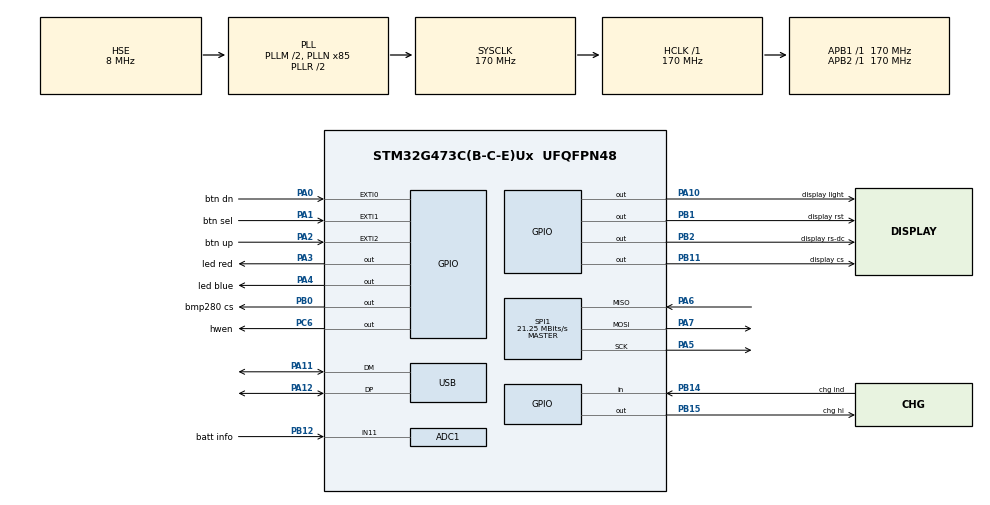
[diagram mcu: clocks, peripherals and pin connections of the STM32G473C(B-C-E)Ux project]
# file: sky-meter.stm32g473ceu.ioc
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ADC1.Channel-0\#ChannelRegularConversion=ADC_CHANNEL_11
ADC1.NbrOfConversionFlag=1
ADC1.OffsetNumber-0\#ChannelRegularConversion=ADC_OFFSET_NONE
ADC1.Rank-0\#ChannelRegularConversion=1
ADC1.SamplingTime-0\#ChannelRegularConversion=ADC_SAMPLETIME_2CYCLES_5
ADC1.master=1
Mcu.Family=STM32G4
Mcu.Name=STM32G473C(B-C-E)Ux
Mcu.Package=UFQFPN48
NVIC.EXTI0_IRQn=true\:0\:0\:false\:false\:true\:true\:true\:true
NVIC.EXTI1_IRQn=true\:0\:0\:false\:false\:true\:true\:true\:true
NVIC.EXTI2_IRQn=true\:0\:0\:false\:false\:true\:true\:true\:true
NVIC.PriorityGroup=NVIC_PRIORITYGROUP_4
NVIC.RTC_WKUP_IRQn=true\:0\:0\:false\:false\:true\:true\:true\:true
NVIC.USB_LP_IRQn=true\:0\:0\:false\:false\:true\:false\:true\:true
PA0.GPIO_Label=btn dn
PA0.GPIO_ModeDefaultEXTI=GPIO_MODE_IT_RISING_FALLING
PA0.GPIO_PuPd=GPIO_PULLUP
PA0.Signal=GPXTI0
PA1.GPIO_Label=btn sel
PA1.GPIO_ModeDefaultEXTI=GPIO_MODE_IT_RISING_FALLING
PA1.GPIO_PuPd=GPIO_PULLUP
PA1.Signal=GPXTI1
PA10.GPIO_Label=display light
PA10.Signal=GPIO_Output
PA11.Mode=Device
PA11.Signal=USB_DM
PA12.Mode=Device
PA12.Signal=USB_DP
PA2.GPIO_Label=btn up
PA2.GPIO_ModeDefaultEXTI=GPIO_MODE_IT_RISING_FALLING
PA2.GPIO_PuPd=GPIO_PULLUP
PA2.Signal=GPXTI2
PA3.GPIO_Label=led red
PA3.Signal=GPIO_Output
PA4.GPIO_Label=led blue
PA4.Signal=GPIO_Output
PA5.Mode=Full_Duplex_Master
PA5.Signal=SPI1_SCK
PA6.Mode=Full_Duplex_Master
PA6.Signal=SPI1_MISO
PA7.Mode=Full_Duplex_Master
PA7.Signal=SPI1_MOSI
PB0.GPIO_Label=bmp280 cs
PB0.PinState=GPIO_PIN_SET
PB0.Signal=GPIO_Output
PB1.GPIO_Label=display rst
PB1.Signal=GPIO_Output
PB11.GPIO_Label=display cs
PB11.PinState=GPIO_PIN_SET
PB11.Signal=GPIO_Output
PB12.GPIO_Label=batt info
PB12.Mode=IN11-Single-Ended
PB12.Signal=ADC1_IN11
PB14.GPIO_Label=chg ind
PB14.GPIO_PuPd=GPIO_PULLUP
PB14.Signal=GPIO_Input
PB15.GPIO_Label=chg hi
PB15.Signal=GPIO_Output
PB2.GPIO_Label=display rs-dc
PB2.Signal=GPIO_Output
PB4.Signal=UCPD1_CC2
PB6.Signal=UCPD1_CC1
PC14-OSC32_IN.Mode=LSE-External-Oscillator
PC14-OSC32_IN.Signal=RCC_OSC32_IN
PC15-OSC32_OUT.Mode=LSE-External-Oscillator
PC15-OSC32_OUT.Signal=RCC_OSC32_OUT
PC6.GPIO_Label=hwen
PC6.PinState=GPIO_PIN_SET
PC6.Signal=GPIO_Output
PF0-OSC_IN.Mode=HSE-External-Oscillator
PF0-OSC_IN.Signal=RCC_OSC_IN
PF1-OSC_OUT.Mode=HSE-External-Oscillator
PF1-OSC_OUT.Signal=RCC_OSC_OUT
ProjectManager.HeapSize=0x200
ProjectManager.StackSize=0x400
ProjectManager.TargetToolchain=Makefile
RCC.ADC12Freq_Value=170000000
RCC.ADC345Freq_Value=170000000
RCC.AHBFreq_Value=170000000
RCC.APB1Freq_Value=170000000
RCC.APB1TimFreq_Value=170000000
RCC.APB2Freq_Value=170000000
RCC.APB2TimFreq_Value=170000000
RCC.CK48CLockSelection=RCC_USBCLKSOURCE_HSI48
RCC.CortexFreq_Value=170000000
RCC.EXTERNAL_CLOCK_VALUE=12288000
RCC.HCLKFreq_Value=170000000
RCC.HSE_VALUE=8000000
RCC.HSI48_VALUE=48000000
RCC.HSI_VALUE=16000000
RCC.PLLM=RCC_PLLM_DIV2
RCC.PLLN=85
RCC.PLLSourceVirtual=RCC_PLLSOURCE_HSE
RCC.RTCClockSelection=RCC_RTCCLKSOURCE_LSE
RCC.SYSCLKFreq_VALUE=170000000
RCC.SYSCLKSource=RCC_SYSCLKSOURCE_PLLCLK
RCC.USBFreq_Value=48000000
RCC.VCOOutputFreq_Value=340000000
RTC.Format=RTC_FORMAT_BIN
SPI1.BaudRatePrescaler=SPI_BAUDRATEPRESCALER_8
SPI1.CalculateBaudRate=21.25 MBits/s
SPI1.DataSize=SPI_DATASIZE_8BIT
SPI1.Direction=SPI_DIRECTION_2LINES
SPI1.Mode=SPI_MODE_MASTER
SPI1.VirtualType=VM_MASTER
USB_DEVICE.CLASS_NAME_FS=CDC
USB_DEVICE.MANUFACTURER_STRING=sky
USB_DEVICE.PRODUCT_STRING_CDC_FS=sky-meter Virtual ComPort
USB_DEVICE.VirtualMode=Cdc
USB_DEVICE.VirtualModeFS=Cdc_FS
VP_RTC_VS_RTC_Activate.Mode=RTC_Enabled
VP_RTC_VS_RTC_Calendar.Mode=RTC_Calendar
VP_RTC_VS_RTC_WakeUp_intern.Mode=WakeUp
VP_SYS_VS_DBSignals.Mode=DisableDeadBatterySignals
VP_USB_DEVICE_VS_USB_DEVICE_CDC_FS.Mode=CDC_FS
board=custom

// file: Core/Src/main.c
/* USER CODE BEGIN Header */
/**
  ******************************************************************************
  * @file           : main.c
  * @brief          : Main program body
  ******************************************************************************
  * @attention
  *
  * Copyright (c) 2024 STMicroelectronics.
  * All rights reserved.
  *
  * This software is licensed under terms that can be found in the LICENSE file
  * in the root directory of this software component.
  * If no LICENSE file comes with this software, it is provided AS-IS.
  *
  ******************************************************************************
  */
/* USER CODE END Header */
#include "main.h"
#include "usb_device.h"

/* USER CODE BEGIN Includes */
#include "../../src/sys/init.h"
#include "../../src/sys/power.h"
#include "../../src/view/btn.h" // btn_byexti
/* USER CODE END Includes */

ADC_HandleTypeDef hadc1;

RTC_HandleTypeDef hrtc;

SPI_HandleTypeDef hspi1;

void SystemClock_Config(void);
static void MX_GPIO_Init(void);
static void MX_ADC1_Init(void);
static void MX_SPI1_Init(void);
static void MX_RTC_Init(void);

/* USER CODE BEGIN 0 */

void HAL_GPIO_EXTI_Callback(uint16_t GPIO_Pin)
{
    btn_byexti(GPIO_Pin);
}

/* USER CODE END 0 */

int main(void)
{

  /* MCU Configuration--------------------------------------------------------*/

  /* Reset of all peripherals, Initializes the Flash interface and the Systick. */
  HAL_Init();

  /* Configure the system clock */
  SystemClock_Config();

  /* Initialize all configured peripherals */
  MX_GPIO_Init();
  MX_ADC1_Init();
  MX_SPI1_Init();
  MX_RTC_Init();
  MX_USB_Device_Init();
  /* USER CODE BEGIN 2 */

    init_full();

  /* USER CODE END 2 */

  /* Infinite loop */
  while (1)
  {

    /* USER CODE BEGIN 3 */

    pwr_tick();

  }
  /* USER CODE END 3 */
}

void SystemClock_Config(void)
{
  RCC_OscInitTypeDef RCC_OscInitStruct = {0};
  RCC_ClkInitTypeDef RCC_ClkInitStruct = {0};

  /** Configure the main internal regulator output voltage
  */
  HAL_PWREx_ControlVoltageScaling(PWR_REGULATOR_VOLTAGE_SCALE1_BOOST);

  /** Configure LSE Drive Capability
  */
  HAL_PWR_EnableBkUpAccess();
  __HAL_RCC_LSEDRIVE_CONFIG(RCC_LSEDRIVE_LOW);

  /** Initializes the RCC Oscillators according to the specified parameters
  * in the RCC_OscInitTypeDef structure.
  */
  RCC_OscInitStruct.OscillatorType = RCC_OSCILLATORTYPE_HSI48|RCC_OSCILLATORTYPE_HSE
                              |RCC_OSCILLATORTYPE_LSE;
  RCC_OscInitStruct.HSEState = RCC_HSE_ON;
  RCC_OscInitStruct.LSEState = RCC_LSE_ON;
  RCC_OscInitStruct.HSI48State = RCC_HSI48_ON;
  RCC_OscInitStruct.PLL.PLLState = RCC_PLL_ON;
  RCC_OscInitStruct.PLL.PLLSource = RCC_PLLSOURCE_HSE;
  RCC_OscInitStruct.PLL.PLLM = RCC_PLLM_DIV2;
  RCC_OscInitStruct.PLL.PLLN = 85;
  RCC_OscInitStruct.PLL.PLLP = RCC_PLLP_DIV2;
  RCC_OscInitStruct.PLL.PLLQ = RCC_PLLQ_DIV2;
  RCC_OscInitStruct.PLL.PLLR = RCC_PLLR_DIV2;
  if (HAL_RCC_OscConfig(&RCC_OscInitStruct) != HAL_OK)
  {
    Error_Handler();
  }

  /** Initializes the CPU, AHB and APB buses clocks
  */
  RCC_ClkInitStruct.ClockType = RCC_CLOCKTYPE_HCLK|RCC_CLOCKTYPE_SYSCLK
                              |RCC_CLOCKTYPE_PCLK1|RCC_CLOCKTYPE_PCLK2;
  RCC_ClkInitStruct.SYSCLKSource = RCC_SYSCLKSOURCE_PLLCLK;
  RCC_ClkInitStruct.AHBCLKDivider = RCC_SYSCLK_DIV1;
  RCC_ClkInitStruct.APB1CLKDivider = RCC_HCLK_DIV1;
  RCC_ClkInitStruct.APB2CLKDivider = RCC_HCLK_DIV1;

  if (HAL_RCC_ClockConfig(&RCC_ClkInitStruct, FLASH_LATENCY_4) != HAL_OK)
  {
    Error_Handler();
  }
}

static void MX_ADC1_Init(void)
{

  ADC_MultiModeTypeDef multimode = {0};
  ADC_ChannelConfTypeDef sConfig = {0};

  /** Common config
  */
  hadc1.Instance = ADC1;
  hadc1.Init.ClockPrescaler = ADC_CLOCK_SYNC_PCLK_DIV4;
  hadc1.Init.Resolution = ADC_RESOLUTION_12B;
  hadc1.Init.DataAlign = ADC_DATAALIGN_RIGHT;
  hadc1.Init.GainCompensation = 0;
  hadc1.Init.ScanConvMode = ADC_SCAN_DISABLE;
  hadc1.Init.EOCSelection = ADC_EOC_SINGLE_CONV;
  hadc1.Init.LowPowerAutoWait = DISABLE;
  hadc1.Init.ContinuousConvMode = DISABLE;
  hadc1.Init.NbrOfConversion = 1;
  hadc1.Init.DiscontinuousConvMode = DISABLE;
  hadc1.Init.ExternalTrigConv = ADC_SOFTWARE_START;
  hadc1.Init.ExternalTrigConvEdge = ADC_EXTERNALTRIGCONVEDGE_NONE;
  hadc1.Init.DMAContinuousRequests = DISABLE;
  hadc1.Init.Overrun = ADC_OVR_DATA_PRESERVED;
  hadc1.Init.OversamplingMode = DISABLE;
  if (HAL_ADC_Init(&hadc1) != HAL_OK)
  {
    Error_Handler();
  }

  /** Configure the ADC multi-mode
  */
  multimode.Mode = ADC_MODE_INDEPENDENT;
  if (HAL_ADCEx_MultiModeConfigChannel(&hadc1, &multimode) != HAL_OK)
  {
    Error_Handler();
  }

  /** Configure Regular Channel
  */
  sConfig.Channel = ADC_CHANNEL_11;
  sConfig.Rank = ADC_REGULAR_RANK_1;
  sConfig.SamplingTime = ADC_SAMPLETIME_2CYCLES_5;
  sConfig.SingleDiff = ADC_SINGLE_ENDED;
  sConfig.OffsetNumber = ADC_OFFSET_NONE;
  sConfig.Offset = 0;
  if (HAL_ADC_ConfigChannel(&hadc1, &sConfig) != HAL_OK)
  {
    Error_Handler();
  }

}

static void MX_RTC_Init(void)
{

  RTC_TimeTypeDef sTime = {0};
  RTC_DateTypeDef sDate = {0};

  /** Initialize RTC Only
  */
  hrtc.Instance = RTC;
  hrtc.Init.HourFormat = RTC_HOURFORMAT_24;
  hrtc.Init.AsynchPrediv = 127;
  hrtc.Init.SynchPrediv = 255;
  hrtc.Init.OutPut = RTC_OUTPUT_DISABLE;
  hrtc.Init.OutPutRemap = RTC_OUTPUT_REMAP_NONE;
  hrtc.Init.OutPutPolarity = RTC_OUTPUT_POLARITY_HIGH;
  hrtc.Init.OutPutType = RTC_OUTPUT_TYPE_OPENDRAIN;
  hrtc.Init.OutPutPullUp = RTC_OUTPUT_PULLUP_NONE;
  if (HAL_RTC_Init(&hrtc) != HAL_OK)
  {
    Error_Handler();
  }

  /* USER CODE BEGIN Check_RTC_BKUP */
  return;

  /* USER CODE END Check_RTC_BKUP */

  /** Initialize RTC and set the Time and Date
  */
  sTime.Hours = 0;
  sTime.Minutes = 0;
  sTime.Seconds = 0;
  sTime.SubSeconds = 0;
  sTime.DayLightSaving = RTC_DAYLIGHTSAVING_NONE;
  sTime.StoreOperation = RTC_STOREOPERATION_RESET;
  if (HAL_RTC_SetTime(&hrtc, &sTime, RTC_FORMAT_BIN) != HAL_OK)
  {
    Error_Handler();
  }
  sDate.WeekDay = RTC_WEEKDAY_MONDAY;
  sDate.Month = RTC_MONTH_JANUARY;
  sDate.Date = 1;
  sDate.Year = 0;

  if (HAL_RTC_SetDate(&hrtc, &sDate, RTC_FORMAT_BIN) != HAL_OK)
  {
    Error_Handler();
  }

  /** Enable the WakeUp
  */
  if (HAL_RTCEx_SetWakeUpTimer_IT(&hrtc, 0, RTC_WAKEUPCLOCK_RTCCLK_DIV16) != HAL_OK)
  {
    Error_Handler();
  }

}

static void MX_SPI1_Init(void)
{

  /* SPI1 parameter configuration*/
  hspi1.Instance = SPI1;
  hspi1.Init.Mode = SPI_MODE_MASTER;
  hspi1.Init.Direction = SPI_DIRECTION_2LINES;
  hspi1.Init.DataSize = SPI_DATASIZE_8BIT;
  hspi1.Init.CLKPolarity = SPI_POLARITY_LOW;
  hspi1.Init.CLKPhase = SPI_PHASE_1EDGE;
  hspi1.Init.NSS = SPI_NSS_SOFT;
  hspi1.Init.BaudRatePrescaler = SPI_BAUDRATEPRESCALER_8;
  hspi1.Init.FirstBit = SPI_FIRSTBIT_MSB;
  hspi1.Init.TIMode = SPI_TIMODE_DISABLE;
  hspi1.Init.CRCCalculation = SPI_CRCCALCULATION_DISABLE;
  hspi1.Init.CRCPolynomial = 7;
  hspi1.Init.CRCLength = SPI_CRC_LENGTH_DATASIZE;
  hspi1.Init.NSSPMode = SPI_NSS_PULSE_ENABLE;
  if (HAL_SPI_Init(&hspi1) != HAL_OK)
  {
    Error_Handler();
  }

}

static void MX_GPIO_Init(void)
{
  GPIO_InitTypeDef GPIO_InitStruct = {0};

  /* GPIO Ports Clock Enable */
  __HAL_RCC_GPIOC_CLK_ENABLE();
  __HAL_RCC_GPIOF_CLK_ENABLE();
  __HAL_RCC_GPIOA_CLK_ENABLE();
  __HAL_RCC_GPIOB_CLK_ENABLE();

  /*Configure GPIO pin Output Level */
  HAL_GPIO_WritePin(GPIOA, led_red_Pin|led_blue_Pin|display_light_Pin, GPIO_PIN_RESET);

  /*Configure GPIO pin Output Level */
  HAL_GPIO_WritePin(GPIOB, bmp280_cs_Pin|display_cs_Pin, GPIO_PIN_SET);

  /*Configure GPIO pin Output Level */
  HAL_GPIO_WritePin(GPIOB, display_rst_Pin|display_rs_dc_Pin|chg_hi_Pin, GPIO_PIN_RESET);

  /*Configure GPIO pin Output Level */
  HAL_GPIO_WritePin(hwen_GPIO_Port, hwen_Pin, GPIO_PIN_SET);

  /*Configure GPIO pins : btn_dn_Pin btn_sel_Pin btn_up_Pin */
  GPIO_InitStruct.Pin = btn_dn_Pin|btn_sel_Pin|btn_up_Pin;
  GPIO_InitStruct.Mode = GPIO_MODE_IT_RISING_FALLING;
  GPIO_InitStruct.Pull = GPIO_PULLUP;
  HAL_GPIO_Init(GPIOA, &GPIO_InitStruct);

  /*Configure GPIO pins : led_red_Pin led_blue_Pin display_light_Pin */
  GPIO_InitStruct.Pin = led_red_Pin|led_blue_Pin|display_light_Pin;
  GPIO_InitStruct.Mode = GPIO_MODE_OUTPUT_PP;
  GPIO_InitStruct.Pull = GPIO_NOPULL;
  GPIO_InitStruct.Speed = GPIO_SPEED_FREQ_LOW;
  HAL_GPIO_Init(GPIOA, &GPIO_InitStruct);

  /*Configure GPIO pins : bmp280_cs_Pin display_rst_Pin display_rs_dc_Pin display_cs_Pin
                           chg_hi_Pin */
  GPIO_InitStruct.Pin = bmp280_cs_Pin|display_rst_Pin|display_rs_dc_Pin|display_cs_Pin
                          |chg_hi_Pin;
  GPIO_InitStruct.Mode = GPIO_MODE_OUTPUT_PP;
  GPIO_InitStruct.Pull = GPIO_NOPULL;
  GPIO_InitStruct.Speed = GPIO_SPEED_FREQ_LOW;
  HAL_GPIO_Init(GPIOB, &GPIO_InitStruct);

  /*Configure GPIO pin : chg_ind_Pin */
  GPIO_InitStruct.Pin = chg_ind_Pin;
  GPIO_InitStruct.Mode = GPIO_MODE_INPUT;
  GPIO_InitStruct.Pull = GPIO_PULLUP;
  HAL_GPIO_Init(chg_ind_GPIO_Port, &GPIO_InitStruct);

  /*Configure GPIO pin : hwen_Pin */
  GPIO_InitStruct.Pin = hwen_Pin;
  GPIO_InitStruct.Mode = GPIO_MODE_OUTPUT_PP;
  GPIO_InitStruct.Pull = GPIO_NOPULL;
  GPIO_InitStruct.Speed = GPIO_SPEED_FREQ_LOW;
  HAL_GPIO_Init(hwen_GPIO_Port, &GPIO_InitStruct);

  /*Configure GPIO pins : PB4 PB6 */
  GPIO_InitStruct.Pin = GPIO_PIN_4|GPIO_PIN_6;
  GPIO_InitStruct.Mode = GPIO_MODE_ANALOG;
  GPIO_InitStruct.Pull = GPIO_NOPULL;
  HAL_GPIO_Init(GPIOB, &GPIO_InitStruct);

  /* EXTI interrupt init*/
  HAL_NVIC_SetPriority(EXTI0_IRQn, 0, 0);
  HAL_NVIC_EnableIRQ(EXTI0_IRQn);

  HAL_NVIC_SetPriority(EXTI1_IRQn, 0, 0);
  HAL_NVIC_EnableIRQ(EXTI1_IRQn);

  HAL_NVIC_SetPriority(EXTI2_IRQn, 0, 0);
  HAL_NVIC_EnableIRQ(EXTI2_IRQn);

}

void Error_Handler(void)
{
  /* USER CODE BEGIN Error_Handler_Debug */
  /* User can add his own implementation to report the HAL error return state */
  __disable_irq();
  while (1)
  {
        HAL_GPIO_WritePin(GPIOA, led_red_Pin, GPIO_PIN_RESET);
        for (int i =0; i < 4; i++) {
            for (int n = 0; n < 3000000; n++)
                asm("");
            HAL_GPIO_TogglePin(GPIOA, led_red_Pin);
        }
            for (int n = 0; n < 30000000; n++)
                asm("");
  }
  /* USER CODE END Error_Handler_Debug */
}
